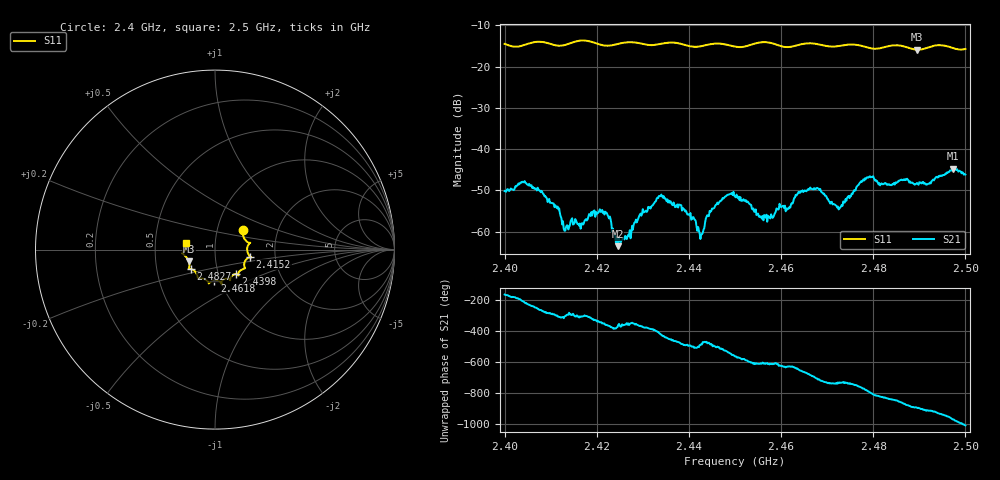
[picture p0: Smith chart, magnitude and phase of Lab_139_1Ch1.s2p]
# Hz S RI R 50
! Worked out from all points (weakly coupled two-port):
!   601 points, 2.4 GHz to 2.5 GHz, reference 50 ohm
!   highest |S21| = -44.75 dB at 2.4973 GHz (marker M1); lowest = -63.5 dB at 2.4245 GHz (marker M2)
!   lowest |S11| = -15.9 dB at 2.4895 GHz (marker M3), VSWR 1.38, Z = 37 - j4.99 ohm
!   |S11| at or under -10 dB: start of sweep to end of sweep
!   S12 and S22 are empty: the file has one direction only
!   S11 on the Smith chart (normalised r, x): 2.4 GHz: 1.33, +0.30; 2.4152 GHz: 1.48, -0.12; 2.4398 GHz: 1.21, -0.34; 2.4618 GHz: 0.94, -0.33; 2.4827 GHz: 0.75, -0.17; 2.5 GHz: 0.72, +0.06
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2.4e9  0.1552 0.1072  -0.003 -0.000821  0 0  0 0
2.404333e9  0.1777 0.0444  -0.00334 0.00237  0 0  0 0
2.413333e9  0.1834 -0.0195  0.000581 0.000985  0 0  0 0
2.415167e9  0.1957 -0.0388  0.000682 0.00107  0 0  0 0
2.416667e9  0.2025 -0.0437  0.000734 0.00101  0 0  0 0
2.421667e9  0.1695 -0.0606  0.00159 0.000247  0 0  0 0
2.4245e9  0.1632 -0.0929  0.000647 -0.000162  0 0  0 0
2.433333e9  0.1296 -0.1338  0.0018 -0.0018  0 0  0 0
2.439833e9  0.1155 -0.1358  -0.00113 -0.00116  0 0  0 0
2.442667e9  0.0908 -0.1515  -0.000521 -0.000764  0 0  0 0
2.445667e9  0.0843 -0.1702  -0.00153 -0.00136  0 0  0 0
2.45e9  0.0654 -0.162  -0.00244 0.00106  0 0  0 0
2.455667e9  0.0379 -0.1933  -0.000514 0.00144  0 0  0 0
2.461833e9  -0.00347 -0.173  -0.000102 0.00199  0 0  0 0
2.466667e9  -0.0347 -0.1882  0.00282 0.00171  0 0  0 0
2.4725e9  -0.0758 -0.1603  0.00179 -0.000504  0 0  0 0
2.478667e9  -0.1017 -0.1373  0.00208 -0.00406  0 0  0 0
2.482667e9  -0.135 -0.1086  -0.00132 -0.00365  0 0  0 0
2.483333e9  -0.1401 -0.1083  -0.00166 -0.00332  0 0  0 0
2.4895e9  -0.146 -0.0658  -0.00387 -0.000438  0 0  0 0
2.497333e9  -0.1675 -0.00339  -0.0021 0.0054  0 0  0 0
2.5e9  -0.1589 0.0385  0.00146 0.00469  0 0  0 0
